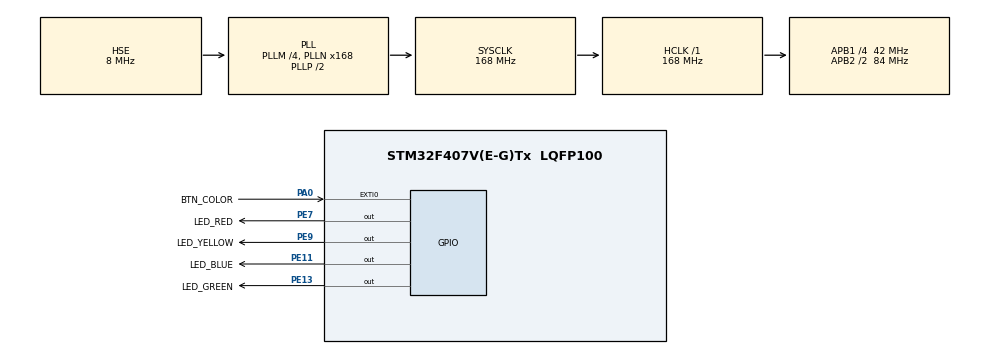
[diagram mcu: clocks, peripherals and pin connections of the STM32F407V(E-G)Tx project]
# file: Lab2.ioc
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Mcu.Family=STM32F4
Mcu.Name=STM32F407V(E-G)Tx
Mcu.Package=LQFP100
NVIC.EXTI0_IRQn=true\:0\:0\:false\:false\:true\:true\:true\:true
NVIC.PriorityGroup=NVIC_PRIORITYGROUP_4
PA0-WKUP.GPIO_Label=BTN_COLOR
PA0-WKUP.GPIO_PuPd=GPIO_PULLDOWN
PA0-WKUP.Signal=GPXTI0
PA13.Mode=Serial_Wire
PA13.Signal=SYS_JTMS-SWDIO
PA14.Mode=Serial_Wire
PA14.Signal=SYS_JTCK-SWCLK
PC14-OSC32_IN.Mode=LSE-External-Oscillator
PC14-OSC32_IN.Signal=RCC_OSC32_IN
PC15-OSC32_OUT.Mode=LSE-External-Oscillator
PC15-OSC32_OUT.Signal=RCC_OSC32_OUT
PE11.GPIO_Label=LED_BLUE
PE11.Signal=GPIO_Output
PE13.GPIO_Label=LED_GREEN
PE13.Signal=GPIO_Output
PE7.GPIO_Label=LED_RED
PE7.Signal=GPIO_Output
PE9.GPIO_Label=LED_YELLOW
PE9.Signal=GPIO_Output
PH0-OSC_IN.Mode=HSE-External-Oscillator
PH0-OSC_IN.Signal=RCC_OSC_IN
PH1-OSC_OUT.Mode=HSE-External-Oscillator
PH1-OSC_OUT.Signal=RCC_OSC_OUT
ProjectManager.HeapSize=0x400
ProjectManager.StackSize=0x400
ProjectManager.TargetToolchain=Makefile
RCC.48MHZClocksFreq_Value=48000000
RCC.AHBFreq_Value=168000000
RCC.APB1CLKDivider=RCC_HCLK_DIV4
RCC.APB1Freq_Value=42000000
RCC.APB1TimFreq_Value=84000000
RCC.APB2CLKDivider=RCC_HCLK_DIV2
RCC.APB2Freq_Value=84000000
RCC.APB2TimFreq_Value=168000000
RCC.CortexFreq_Value=168000000
RCC.EnbaleCSS=true
RCC.HCLKFreq_Value=168000000
RCC.HSE_VALUE=8000000
RCC.HSI_VALUE=16000000
RCC.PLLM=4
RCC.PLLN=168
RCC.PLLQ=7
RCC.PLLSourceVirtual=RCC_PLLSOURCE_HSE
RCC.SYSCLKFreq_VALUE=168000000
RCC.SYSCLKSource=RCC_SYSCLKSOURCE_PLLCLK
RCC.VCOOutputFreq_Value=336000000
board=custom

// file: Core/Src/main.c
/* USER CODE BEGIN Header */
/**
  ******************************************************************************
  * @file           : main.c
  * @brief          : Main program body
  ******************************************************************************
  * @attention
  *
  * Copyright (c) 2025 STMicroelectronics.
  * All rights reserved.
  *
  * This software is licensed under terms that can be found in the LICENSE file
  * in the root directory of this software component.
  * If no LICENSE file comes with this software, it is provided AS-IS.
  *
  ******************************************************************************
  */
/* USER CODE END Header */
#include "main.h"
#include "gpio.h"

/* USER CODE BEGIN PV */

static unsigned int ledN = 0;
static uint32_t lastTick = 0;
static uint8_t algStep = 0;

/* USER CODE END PV */

void SystemClock_Config(void);
/* USER CODE BEGIN PFP */

void Alg_0();
void Alg_1();
void Alg_2();
void Alg_3();
void Reset_LEDs();

/* USER CODE END PFP */

int main(void)
{

  /* MCU Configuration--------------------------------------------------------*/

  /* Reset of all peripherals, Initializes the Flash interface and the Systick. */
  HAL_Init();

  /* Configure the system clock */
  SystemClock_Config();

  /* Initialize all configured peripherals */
  MX_GPIO_Init();

  /* Infinite loop */
  while (1)
  {

    switch (ledN)
    {
      case 0:
        Alg_0();
        break;
      case 1:
        Alg_1();
        break;
      case 2:
        Alg_2();
        break;
      case 3:
        Alg_3();
        break;
    }
  }
}

void SystemClock_Config(void)
{
  RCC_OscInitTypeDef RCC_OscInitStruct = {0};
  RCC_ClkInitTypeDef RCC_ClkInitStruct = {0};

  /** Configure the main internal regulator output voltage
  */
  __HAL_RCC_PWR_CLK_ENABLE();
  __HAL_PWR_VOLTAGESCALING_CONFIG(PWR_REGULATOR_VOLTAGE_SCALE1);

  /** Initializes the RCC Oscillators according to the specified parameters
  * in the RCC_OscInitTypeDef structure.
  */
  RCC_OscInitStruct.OscillatorType = RCC_OSCILLATORTYPE_HSE;
  RCC_OscInitStruct.HSEState = RCC_HSE_ON;
  RCC_OscInitStruct.PLL.PLLState = RCC_PLL_ON;
  RCC_OscInitStruct.PLL.PLLSource = RCC_PLLSOURCE_HSE;
  RCC_OscInitStruct.PLL.PLLM = 4;
  RCC_OscInitStruct.PLL.PLLN = 168;
  RCC_OscInitStruct.PLL.PLLP = RCC_PLLP_DIV2;
  RCC_OscInitStruct.PLL.PLLQ = 7;
  if (HAL_RCC_OscConfig(&RCC_OscInitStruct) != HAL_OK)
  {
    Error_Handler();
  }

  /** Initializes the CPU, AHB and APB buses clocks
  */
  RCC_ClkInitStruct.ClockType = RCC_CLOCKTYPE_HCLK|RCC_CLOCKTYPE_SYSCLK
                              |RCC_CLOCKTYPE_PCLK1|RCC_CLOCKTYPE_PCLK2;
  RCC_ClkInitStruct.SYSCLKSource = RCC_SYSCLKSOURCE_PLLCLK;
  RCC_ClkInitStruct.AHBCLKDivider = RCC_SYSCLK_DIV1;
  RCC_ClkInitStruct.APB1CLKDivider = RCC_HCLK_DIV4;
  RCC_ClkInitStruct.APB2CLKDivider = RCC_HCLK_DIV2;

  if (HAL_RCC_ClockConfig(&RCC_ClkInitStruct, FLASH_LATENCY_5) != HAL_OK)
  {
    Error_Handler();
  }

  /** Enables the Clock Security System
  */
  HAL_RCC_EnableCSS();
}

/* USER CODE BEGIN 4 */

void Btn_Pressed()
{

  Reset_LEDs();

  algStep = 0;
  lastTick = HAL_GetTick();

  ledN++;

  if (ledN > 3)
    ledN = 0;
}

void Alg_0()
{
  uint32_t currentTick = HAL_GetTick();

  if (currentTick - lastTick >= 250)
  {
    switch (algStep)
    {
      case 0:
        HAL_GPIO_WritePin(LED_RED_GPIO_Port,    LED_RED_Pin,    GPIO_PIN_SET);
        HAL_GPIO_WritePin(LED_YELLOW_GPIO_Port, LED_YELLOW_Pin, GPIO_PIN_RESET);
        HAL_GPIO_WritePin(LED_BLUE_GPIO_Port,   LED_BLUE_Pin,   GPIO_PIN_RESET);
        HAL_GPIO_WritePin(LED_GREEN_GPIO_Port,  LED_GREEN_Pin,  GPIO_PIN_RESET);
        break;
      case 1:
        HAL_GPIO_WritePin(LED_RED_GPIO_Port,    LED_RED_Pin,    GPIO_PIN_RESET);
        HAL_GPIO_WritePin(LED_YELLOW_GPIO_Port, LED_YELLOW_Pin, GPIO_PIN_SET);
        HAL_GPIO_WritePin(LED_BLUE_GPIO_Port,   LED_BLUE_Pin,   GPIO_PIN_RESET);
        HAL_GPIO_WritePin(LED_GREEN_GPIO_Port,  LED_GREEN_Pin,  GPIO_PIN_RESET);
        break;
      case 2:
        HAL_GPIO_WritePin(LED_RED_GPIO_Port,    LED_RED_Pin,    GPIO_PIN_RESET);
        HAL_GPIO_WritePin(LED_YELLOW_GPIO_Port, LED_YELLOW_Pin, GPIO_PIN_RESET);
        HAL_GPIO_WritePin(LED_BLUE_GPIO_Port,   LED_BLUE_Pin,   GPIO_PIN_SET);
        HAL_GPIO_WritePin(LED_GREEN_GPIO_Port,  LED_GREEN_Pin,  GPIO_PIN_RESET);
        break;
      case 3:
      default:
        HAL_GPIO_WritePin(LED_RED_GPIO_Port,    LED_RED_Pin,    GPIO_PIN_RESET);
        HAL_GPIO_WritePin(LED_YELLOW_GPIO_Port, LED_YELLOW_Pin, GPIO_PIN_RESET);
        HAL_GPIO_WritePin(LED_BLUE_GPIO_Port,   LED_BLUE_Pin,   GPIO_PIN_RESET);
        HAL_GPIO_WritePin(LED_GREEN_GPIO_Port,  LED_GREEN_Pin,  GPIO_PIN_SET);
        break;
    }

    algStep = (algStep + 1) & 0x03;
    lastTick = currentTick;
  }
}

void Alg_1()
{
  uint32_t currentTick = HAL_GetTick();

  if (currentTick - lastTick >= 250)
  {
    switch (algStep)
    {
      case 0:
        HAL_GPIO_WritePin(LED_RED_GPIO_Port,    LED_RED_Pin,    GPIO_PIN_SET);
        HAL_GPIO_WritePin(LED_YELLOW_GPIO_Port, LED_YELLOW_Pin, GPIO_PIN_SET);
        HAL_GPIO_WritePin(LED_BLUE_GPIO_Port,   LED_BLUE_Pin,   GPIO_PIN_RESET);
        HAL_GPIO_WritePin(LED_GREEN_GPIO_Port,  LED_GREEN_Pin,  GPIO_PIN_RESET);
        break;
      case 1:
        HAL_GPIO_WritePin(LED_RED_GPIO_Port,    LED_RED_Pin,    GPIO_PIN_RESET);
        HAL_GPIO_WritePin(LED_YELLOW_GPIO_Port, LED_YELLOW_Pin, GPIO_PIN_SET);
        HAL_GPIO_WritePin(LED_BLUE_GPIO_Port,   LED_BLUE_Pin,   GPIO_PIN_SET);
        HAL_GPIO_WritePin(LED_GREEN_GPIO_Port,  LED_GREEN_Pin,  GPIO_PIN_RESET);
        break;
      case 2:
        HAL_GPIO_WritePin(LED_RED_GPIO_Port,    LED_RED_Pin,    GPIO_PIN_RESET);
        HAL_GPIO_WritePin(LED_YELLOW_GPIO_Port, LED_YELLOW_Pin, GPIO_PIN_RESET);
        HAL_GPIO_WritePin(LED_BLUE_GPIO_Port,   LED_BLUE_Pin,   GPIO_PIN_SET);
        HAL_GPIO_WritePin(LED_GREEN_GPIO_Port,  LED_GREEN_Pin,  GPIO_PIN_SET);
        break;
      case 3:
      default:
        HAL_GPIO_WritePin(LED_RED_GPIO_Port,    LED_RED_Pin,    GPIO_PIN_SET);
        HAL_GPIO_WritePin(LED_YELLOW_GPIO_Port, LED_YELLOW_Pin, GPIO_PIN_RESET);
        HAL_GPIO_WritePin(LED_BLUE_GPIO_Port,   LED_BLUE_Pin,   GPIO_PIN_RESET);
        HAL_GPIO_WritePin(LED_GREEN_GPIO_Port,  LED_GREEN_Pin,  GPIO_PIN_SET);
        break;
    }

    algStep = (algStep + 1) & 0x03;
    lastTick = currentTick;
  }
}

void Alg_2()
{
  uint32_t currentTick = HAL_GetTick();

  if (currentTick - lastTick >= 500)
  {
    switch (algStep)
    {
      case 0:
        HAL_GPIO_WritePin(LED_RED_GPIO_Port, LED_RED_Pin, GPIO_PIN_SET);
        HAL_GPIO_WritePin(LED_YELLOW_GPIO_Port, LED_YELLOW_Pin, GPIO_PIN_SET);
        HAL_GPIO_WritePin(LED_BLUE_GPIO_Port, LED_BLUE_Pin, GPIO_PIN_SET);
        HAL_GPIO_WritePin(LED_GREEN_GPIO_Port, LED_GREEN_Pin, GPIO_PIN_SET);
        break;
      case 1:
        HAL_GPIO_WritePin(LED_RED_GPIO_Port, LED_RED_Pin, GPIO_PIN_RESET);
        HAL_GPIO_WritePin(LED_YELLOW_GPIO_Port, LED_YELLOW_Pin, GPIO_PIN_RESET);
        HAL_GPIO_WritePin(LED_BLUE_GPIO_Port, LED_BLUE_Pin, GPIO_PIN_RESET);
        HAL_GPIO_WritePin(LED_GREEN_GPIO_Port, LED_GREEN_Pin, GPIO_PIN_RESET);
        break;
    }

    algStep++;
    if (algStep > 1) algStep = 0;
    lastTick = currentTick;
  }
}

void Alg_3()
{
  uint32_t currentTick = HAL_GetTick();

  if (currentTick - lastTick >= 500)
  {
    switch (algStep)
    {
      case 0:
        HAL_GPIO_WritePin(LED_RED_GPIO_Port,    LED_RED_Pin,    GPIO_PIN_SET);
        HAL_GPIO_WritePin(LED_GREEN_GPIO_Port,  LED_GREEN_Pin,  GPIO_PIN_RESET);
        HAL_GPIO_WritePin(LED_YELLOW_GPIO_Port, LED_YELLOW_Pin, GPIO_PIN_RESET);
        HAL_GPIO_WritePin(LED_BLUE_GPIO_Port,   LED_BLUE_Pin,   GPIO_PIN_RESET);
        break;
      case 1:
        HAL_GPIO_WritePin(LED_RED_GPIO_Port,    LED_RED_Pin,    GPIO_PIN_RESET);
        HAL_GPIO_WritePin(LED_GREEN_GPIO_Port,  LED_GREEN_Pin,  GPIO_PIN_SET);
        HAL_GPIO_WritePin(LED_YELLOW_GPIO_Port, LED_YELLOW_Pin, GPIO_PIN_RESET);
        HAL_GPIO_WritePin(LED_BLUE_GPIO_Port,   LED_BLUE_Pin,   GPIO_PIN_RESET);
        break;
      case 2:
        HAL_GPIO_WritePin(LED_RED_GPIO_Port,    LED_RED_Pin,    GPIO_PIN_RESET);
        HAL_GPIO_WritePin(LED_GREEN_GPIO_Port,  LED_GREEN_Pin,  GPIO_PIN_RESET);
        HAL_GPIO_WritePin(LED_YELLOW_GPIO_Port, LED_YELLOW_Pin, GPIO_PIN_SET);
        HAL_GPIO_WritePin(LED_BLUE_GPIO_Port,   LED_BLUE_Pin,   GPIO_PIN_RESET);
        break;
      case 3:
      default:
        HAL_GPIO_WritePin(LED_RED_GPIO_Port,    LED_RED_Pin,    GPIO_PIN_RESET);
        HAL_GPIO_WritePin(LED_GREEN_GPIO_Port,  LED_GREEN_Pin,  GPIO_PIN_RESET);
        HAL_GPIO_WritePin(LED_YELLOW_GPIO_Port, LED_YELLOW_Pin, GPIO_PIN_RESET);
        HAL_GPIO_WritePin(LED_BLUE_GPIO_Port,   LED_BLUE_Pin,   GPIO_PIN_SET);
        break;
    }

    algStep = (algStep + 1) & 0x03;
    lastTick = currentTick;
  }
}

void Reset_LEDs()
{
  HAL_GPIO_WritePin(LED_RED_GPIO_Port, LED_RED_Pin, GPIO_PIN_RESET);
  HAL_GPIO_WritePin(LED_YELLOW_GPIO_Port, LED_YELLOW_Pin, GPIO_PIN_RESET);
  HAL_GPIO_WritePin(LED_BLUE_GPIO_Port, LED_BLUE_Pin, GPIO_PIN_RESET);
  HAL_GPIO_WritePin(LED_GREEN_GPIO_Port, LED_GREEN_Pin, GPIO_PIN_RESET);
}

/* USER CODE END 4 */

void Error_Handler(void)
{
  __disable_irq();
  while (1)
  {
  }
}
